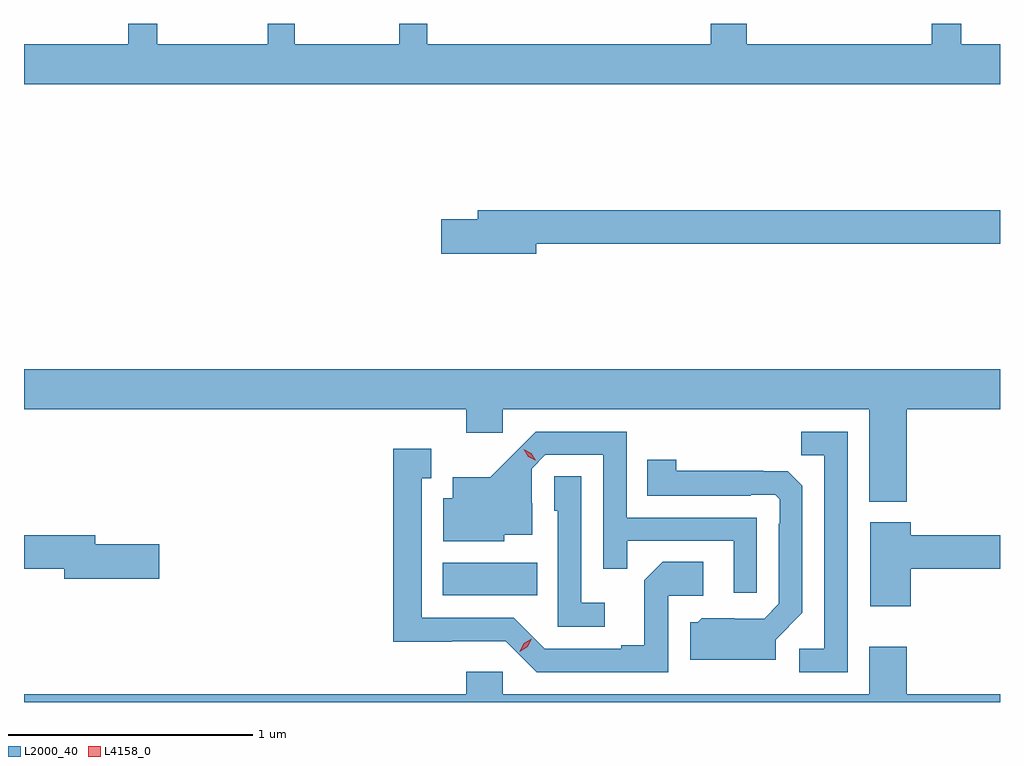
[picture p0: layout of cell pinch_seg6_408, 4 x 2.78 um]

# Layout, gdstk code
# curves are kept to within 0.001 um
import gdstk
lib = gdstk.Library(unit=1e-6, precision=1e-09)
def R(c, l, rs):  # rectangles x0, y0, x1, y1
    for r in rs: c.add(gdstk.rectangle(r[:2], r[2:], *l))
def P(c, l, *ps):  # polygons
    for p in ps: c.add(gdstk.Polygon(p, *l))
L2000_40 = (2000, 40)
L4158_0 = (4158, 0)

pinch_seg6_408 = lib.new_cell('pinch_seg6_408')
R(pinch_seg6_408, L2000_40, [(664.841,915.938,665.228,916.072)])
P(pinch_seg6_408, L2000_40, [(667.125,918.196),(666.967,918.196),(666.967,918.281),(666.845,918.281),(666.845,918.196),(666.087,918.196),(666.087,918.281),(665.939,918.281),(665.939,918.196),(664.777,918.196),(664.777,918.281),(664.663,918.281),(664.663,918.196),(664.234,918.196),(664.234,918.281),(664.124,918.281),(664.124,918.196),(663.671,918.196),(663.671,918.281),(663.553,918.281),(663.553,918.196),(663.125,918.196),(663.125,918.032),(667.125,918.032)],
  [(665.224,917.38),(667.125,917.38),(667.125,917.516),(664.985,917.516),(664.985,917.48),(664.836,917.48),(664.836,917.338),(665.224,917.338)],
  [(666.743,916.7),(667.125,916.7),(667.125,916.864),(663.125,916.864),(663.125,916.7),(664.937,916.7),(664.937,916.605),(665.088,916.605),(665.088,916.7),(666.59,916.7),(666.59,916.322),(666.743,916.322)],
  [(666.129,916.257),(665.595,916.257),(665.595,916.608),(665.222,916.608),(665.035,916.423),(664.883,916.423),(664.883,916.336),(664.844,916.336),(664.844,916.16),(665.094,916.16),(665.094,916.187),(665.209,916.187),(665.209,916.316),(665.205,916.316),(665.205,916.458),(665.262,916.515),(665.499,916.515),(665.499,916.048),(665.597,916.048),(665.597,916.161),(666.033,916.161),(666.033,915.948),(666.129,915.948)],
  [(666.501,916.608),(666.31,916.608),(666.31,916.513),(666.405,916.513),(666.405,915.72),(666.303,915.72),(666.303,915.624),(666.501,915.624)],
  [(665.766,915.936),(665.908,915.936),(665.908,916.076),(665.743,916.076),(665.667,916),(665.667,915.733),(665.573,915.733),(665.573,915.72),(665.259,915.72),(665.133,915.846),(664.756,915.846),(664.756,916.419),(664.795,916.419),(664.795,916.54),(664.638,916.54),(664.638,915.749),(665.1,915.75),(665.226,915.624),(665.766,915.624)],
  [(666.205,915.756),(666.315,915.866),(666.315,916.388),(666.256,916.447),(665.799,916.448),(665.799,916.495),(665.68,916.495),(665.68,916.347),(666.104,916.347),(666.104,916.35),(666.204,916.35),(666.222,916.332),(666.222,916.232),(666.219,916.232),(666.219,915.903),(666.159,915.843),(665.902,915.844),(665.886,915.828),(665.855,915.828),(665.855,915.674),(666.205,915.674)],
  [(665.506,915.907),(665.409,915.907),(665.409,916.427),(665.298,916.427),(665.298,916.284),(665.313,916.284),(665.313,915.81),(665.506,915.81)],
  [(666.76,916.048),(667.125,916.048),(667.125,916.184),(666.76,916.184),(666.76,916.237),(666.593,916.237),(666.593,915.894),(666.76,915.894)],
  [(663.679,916.148),(663.418,916.148),(663.418,916.184),(663.125,916.184),(663.125,916.048),(663.29,916.048),(663.29,916.006),(663.679,916.006)],
  [(667.125,915.532),(666.743,915.532),(666.743,915.727),(666.59,915.727),(666.59,915.532),(665.088,915.532),(665.088,915.625),(664.937,915.625),(664.937,915.532),(663.125,915.532),(663.125,915.5),(667.125,915.5)])
P(pinch_seg6_408, L4158_0, [(665.221,916.491),(665.191,916.506),(665.173,916.536),(665.173,916.536),(665.174,916.536),(665.204,916.521),(665.222,916.492),(665.222,916.491)],
  [(665.157,915.707),(665.157,915.708),(665.174,915.741),(665.205,915.76),(665.206,915.76),(665.206,915.76),(665.189,915.727),(665.157,915.707)])

lib.write_gds('pinch_seg6_408.gds')
